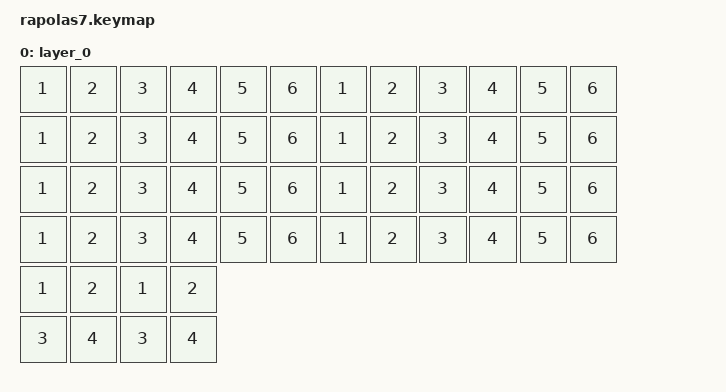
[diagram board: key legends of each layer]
#include <behaviors.dtsi>
#include <dt-bindings/zmk/keys.h>


/ {
    keymap {
        compatible = "zmk,keymap";
        layer_0 {bindings = <
                &kp N1 &kp N2 &kp N3 &kp N4 &kp N5 &kp N6 &kp N1 &kp N2 &kp N3 &kp N4 &kp N5 &kp N6
                &kp N1 &kp N2 &kp N3 &kp N4 &kp N5 &kp N6 &kp N1 &kp N2 &kp N3 &kp N4 &kp N5 &kp N6
                &kp N1 &kp N2 &kp N3 &kp N4 &kp N5 &kp N6 &kp N1 &kp N2 &kp N3 &kp N4 &kp N5 &kp N6
                &kp N1 &kp N2 &kp N3 &kp N4 &kp N5 &kp N6 &kp N1 &kp N2 &kp N3 &kp N4 &kp N5 &kp N6
                &kp N1 &kp N2 &kp N1 &kp N2
                &kp N3 &kp N4 &kp N3 &kp N4>;
        };
    };
};
